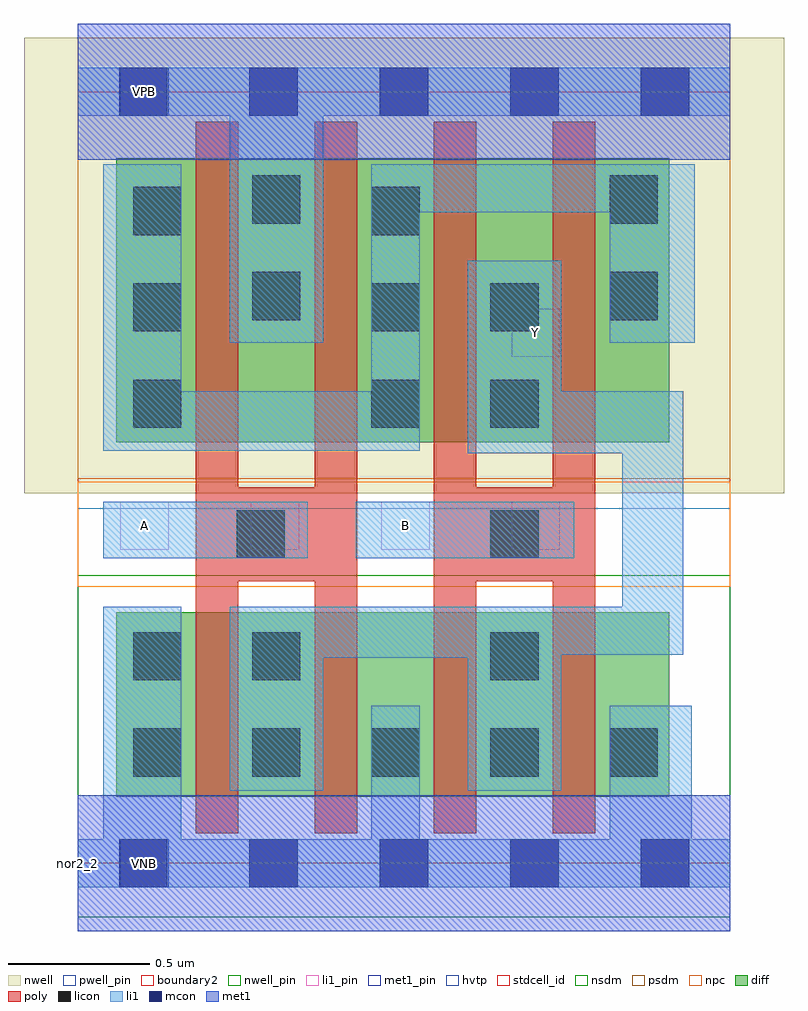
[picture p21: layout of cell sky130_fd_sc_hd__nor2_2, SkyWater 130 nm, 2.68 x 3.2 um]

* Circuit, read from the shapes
.subckt sky130_fd_sc_hd__nor2_2 A B VGND VNB VPB VPWR Y
XM1 Y A VGND VNB sky130_fd_pr__nfet_01v8 w=0.65 l=0.15 m=2
XM2 Y B VGND VNB sky130_fd_pr__nfet_01v8 w=0.65 l=0.15 m=2
XM3 VPWR A n1 VPB sky130_fd_pr__pfet_01v8_hvt w=1 l=0.15 m=2
XM4 Y B n1 VPB sky130_fd_pr__pfet_01v8_hvt w=1 l=0.15 m=2
.ends

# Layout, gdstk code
import gdstk
lib = gdstk.Library(unit=1e-6, precision=1e-09)
def R(c, l, rs):  # rectangles x0, y0, x1, y1
    for r in rs: c.add(gdstk.rectangle(r[:2], r[2:], *l))
def P(c, l, *ps):  # polygons
    for p in ps: c.add(gdstk.Polygon(p, *l))
nwell_pin = (64, 16)
nwell = (64, 20)
diff = (65, 20)
poly = (66, 20)
licon = (66, 44)
li1_pin = (67, 16)
li1 = (67, 20)
mcon = (67, 44)
met1_pin = (68, 16)
met1 = (68, 20)
hvtp = (78, 44)
stdcell_id = (81, 4)
nsdm = (93, 44)
psdm = (94, 20)
npc = (95, 20)
pwell_pin = (122, 16)
boundary2 = (236, 0)

sky130_fd_sc_hd__nor2_2 = lib.new_cell('sky130_fd_sc_hd__nor2_2')
R(sky130_fd_sc_hd__nor2_2, nwell_pin, [(0.15,2.635,0.32,2.805), (0.15,2.635,0.32,2.805)])
R(sky130_fd_sc_hd__nor2_2, nwell, [(-0.19,1.305,2.49,2.91), (-0.19,1.305,2.49,2.91)])
R(sky130_fd_sc_hd__nor2_2, diff, [(0.135,0.235,2.085,0.885), (0.135,0.235,2.085,0.885), (0.135,1.485,2.085,2.485), (0.135,1.485,2.085,2.485)])
P(sky130_fd_sc_hd__nor2_2, poly, [(0.415,0.105),(0.415,2.615),(0.565,2.615),(0.565,1.325),(0.835,1.325),(0.835,2.615),(0.985,2.615),(0.985,0.105),(0.835,0.105),(0.835,0.995),(0.565,0.995),(0.565,0.105)],
  [(1.255,0.105),(1.255,2.615),(1.405,2.615),(1.405,1.325),(1.675,1.325),(1.675,2.615),(1.825,2.615),(1.825,0.105),(1.675,0.105),(1.675,0.995),(1.405,0.995),(1.405,0.105)],
  [(0.415,0.105),(0.415,2.615),(0.565,2.615),(0.565,1.325),(0.835,1.325),(0.835,2.615),(0.985,2.615),(0.985,0.105),(0.835,0.105),(0.835,0.995),(0.565,0.995),(0.565,0.105)],
  [(1.255,0.105),(1.255,2.615),(1.405,2.615),(1.405,1.325),(1.675,1.325),(1.675,2.615),(1.825,2.615),(1.825,0.105),(1.675,0.105),(1.675,0.995),(1.405,0.995),(1.405,0.105)])
R(sky130_fd_sc_hd__nor2_2, licon, [(0.195,0.305,0.365,0.475), (0.195,0.305,0.365,0.475), (0.615,0.305,0.785,0.475), (0.615,0.305,0.785,0.475), (1.035,0.305,1.205,0.475), (1.035,0.305,1.205,0.475), (1.455,0.305,1.625,0.475), (1.455,0.305,1.625,0.475), (1.875,0.305,2.045,0.475), (1.875,0.305,2.045,0.475), (0.195,0.645,0.365,0.815), (0.195,0.645,0.365,0.815), (0.615,0.645,0.785,0.815), (0.615,0.645,0.785,0.815), (1.455,0.645,1.625,0.815), (1.455,0.645,1.625,0.815), (0.56,1.075,0.73,1.245), (0.56,1.075,0.73,1.245), (1.455,1.075,1.625,1.245), (1.455,1.075,1.625,1.245), (0.195,1.535,0.365,1.705), (0.195,1.535,0.365,1.705), (1.035,1.535,1.205,1.705), (1.035,1.535,1.205,1.705), (1.455,1.535,1.625,1.705), (1.455,1.535,1.625,1.705), (0.195,1.875,0.365,2.045), (0.195,1.875,0.365,2.045), (1.035,1.875,1.205,2.045), (1.035,1.875,1.205,2.045), (1.455,1.875,1.625,2.045), (1.455,1.875,1.625,2.045), (0.615,1.915,0.785,2.085), (0.615,1.915,0.785,2.085), (1.875,1.915,2.045,2.085), (1.875,1.915,2.045,2.085), (0.195,2.215,0.365,2.385), (0.195,2.215,0.365,2.385), (1.035,2.215,1.205,2.385), (1.035,2.215,1.205,2.385), (0.615,2.255,0.785,2.425), (0.615,2.255,0.785,2.425), (1.875,2.255,2.045,2.425), (1.875,2.255,2.045,2.425)])
R(sky130_fd_sc_hd__nor2_2, li1_pin, [(0.15,1.105,0.32,1.275), (0.15,1.105,0.32,1.275), (0.61,1.105,0.78,1.275), (0.61,1.105,0.78,1.275), (1.07,1.105,1.24,1.275), (1.07,1.105,1.24,1.275), (1.53,1.105,1.7,1.275), (1.53,1.105,1.7,1.275), (1.53,1.785,1.7,1.955), (1.53,1.785,1.7,1.955)])
R(sky130_fd_sc_hd__nor2_2, li1, [(0.09,1.075,0.81,1.275), (0.09,1.075,0.81,1.275), (0.98,1.075,1.75,1.275), (0.98,1.075,1.75,1.275)])
P(sky130_fd_sc_hd__nor2_2, li1, [(0,-0.085),(0,0.085),(0.09,0.085),(0.09,0.905),(0.365,0.905),(0.365,0.085),(1.035,0.085),(1.035,0.555),(1.205,0.555),(1.205,0.085),(1.875,0.085),(1.875,0.555),(2.165,0.555),(2.165,0.085),(2.3,0.085),(2.3,-0.085)],
  [(0.535,1.835),(0.535,2.635),(0,2.635),(0,2.805),(2.3,2.805),(2.3,2.635),(0.865,2.635),(0.865,1.835)],
  [(0.535,0.255),(0.535,0.905),(1.92,0.905),(1.92,1.445),(1.375,1.445),(1.375,2.125),(1.705,2.125),(1.705,1.665),(2.135,1.665),(2.135,0.735),(1.705,0.735),(1.705,0.255),(1.375,0.255),(1.375,0.725),(0.865,0.725),(0.865,0.255)],
  [(0.09,1.455),(0.09,2.465),(0.365,2.465),(0.365,1.665),(1.035,1.665),(1.035,2.465),(2.175,2.465),(2.175,1.835),(1.875,1.835),(1.875,2.295),(1.205,2.295),(1.205,1.455)],
  [(0,-0.085),(0,0.085),(0.09,0.085),(0.09,0.905),(0.365,0.905),(0.365,0.085),(1.035,0.085),(1.035,0.555),(1.205,0.555),(1.205,0.085),(1.875,0.085),(1.875,0.555),(2.165,0.555),(2.165,0.085),(2.3,0.085),(2.3,-0.085)],
  [(0.535,1.835),(0.535,2.635),(0,2.635),(0,2.805),(2.3,2.805),(2.3,2.635),(0.865,2.635),(0.865,1.835)],
  [(0.535,0.255),(0.535,0.905),(1.92,0.905),(1.92,1.445),(1.375,1.445),(1.375,2.125),(1.705,2.125),(1.705,1.665),(2.135,1.665),(2.135,0.735),(1.705,0.735),(1.705,0.255),(1.375,0.255),(1.375,0.725),(0.865,0.725),(0.865,0.255)],
  [(0.09,1.455),(0.09,2.465),(0.365,2.465),(0.365,1.665),(1.035,1.665),(1.035,2.465),(2.175,2.465),(2.175,1.835),(1.875,1.835),(1.875,2.295),(1.205,2.295),(1.205,1.455)])
R(sky130_fd_sc_hd__nor2_2, mcon, [(0.145,-0.085,0.315,0.085), (0.145,-0.085,0.315,0.085), (0.605,-0.085,0.775,0.085), (0.605,-0.085,0.775,0.085), (1.065,-0.085,1.235,0.085), (1.065,-0.085,1.235,0.085), (1.525,-0.085,1.695,0.085), (1.525,-0.085,1.695,0.085), (1.985,-0.085,2.155,0.085), (1.985,-0.085,2.155,0.085), (0.145,2.635,0.315,2.805), (0.145,2.635,0.315,2.805), (0.605,2.635,0.775,2.805), (0.605,2.635,0.775,2.805), (1.065,2.635,1.235,2.805), (1.065,2.635,1.235,2.805), (1.525,2.635,1.695,2.805), (1.525,2.635,1.695,2.805), (1.985,2.635,2.155,2.805), (1.985,2.635,2.155,2.805)])
R(sky130_fd_sc_hd__nor2_2, met1_pin, [(0.15,-0.085,0.32,0.085), (0.15,-0.085,0.32,0.085), (0.15,2.635,0.32,2.805), (0.15,2.635,0.32,2.805)])
R(sky130_fd_sc_hd__nor2_2, hvtp, [(0,1.25,2.3,2.72), (0,1.25,2.3,2.72)])
R(sky130_fd_sc_hd__nor2_2, stdcell_id, [(0,0,2.3,2.72), (0,0,2.3,2.72)])
R(sky130_fd_sc_hd__nor2_2, nsdm, [(0,-0.19,2.3,1.015), (0,-0.19,2.3,1.015)])
R(sky130_fd_sc_hd__nor2_2, psdm, [(0,1.355,2.3,2.91), (0,1.355,2.3,2.91)])
R(sky130_fd_sc_hd__nor2_2, npc, [(0,0.975,2.3,1.345), (0,0.975,2.3,1.345)])
R(sky130_fd_sc_hd__nor2_2, pwell_pin, [(0.15,-0.085,0.32,0.085), (0.15,-0.085,0.32,0.085)])
R(sky130_fd_sc_hd__nor2_2, boundary2, [(0,0,2.3,2.72), (0,0,2.3,2.72)])
sky130_fd_sc_hd__nor2_2.add(gdstk.FlexPath([(0,2.72),(2.3,2.72)], 0.48, ends="flush", simple_path=True, layer=68, datatype=20))  # met1
sky130_fd_sc_hd__nor2_2.add(gdstk.FlexPath([(0,0),(2.3,0)], 0.48, ends="flush", simple_path=True, layer=68, datatype=20))  # met1
sky130_fd_sc_hd__nor2_2.add(gdstk.FlexPath([(0,2.72),(2.3,2.72)], 0.48, ends="flush", simple_path=True, layer=68, datatype=20))  # met1
sky130_fd_sc_hd__nor2_2.add(gdstk.FlexPath([(0,0),(2.3,0)], 0.48, ends="flush", simple_path=True, layer=68, datatype=20))  # met1
sky130_fd_sc_hd__nor2_2.add(gdstk.Label('B', (1.155,1.19), layer=67, texttype=5))
sky130_fd_sc_hd__nor2_2.add(gdstk.Label('Y', (1.615,1.87), layer=67, texttype=5))
sky130_fd_sc_hd__nor2_2.add(gdstk.Label('A', (0.235,1.19), layer=67, texttype=5))
sky130_fd_sc_hd__nor2_2.add(gdstk.Label('B', (1.155,1.19), layer=67, texttype=5))
sky130_fd_sc_hd__nor2_2.add(gdstk.Label('Y', (1.615,1.87), layer=67, texttype=5))
sky130_fd_sc_hd__nor2_2.add(gdstk.Label('A', (0.235,1.19), layer=67, texttype=5))
sky130_fd_sc_hd__nor2_2.add(gdstk.Label('VNB', (0.235,0), layer=64, texttype=59))
sky130_fd_sc_hd__nor2_2.add(gdstk.Label('VNB', (0.235,0), layer=64, texttype=59))
sky130_fd_sc_hd__nor2_2.add(gdstk.Label('VPB', (0.235,2.72), layer=64, texttype=5))
sky130_fd_sc_hd__nor2_2.add(gdstk.Label('VPB', (0.235,2.72), layer=64, texttype=5))
sky130_fd_sc_hd__nor2_2.add(gdstk.Label('VGND', (0.235,0), layer=68, texttype=5))
sky130_fd_sc_hd__nor2_2.add(gdstk.Label('VPWR', (0.235,2.72), layer=68, texttype=5))
sky130_fd_sc_hd__nor2_2.add(gdstk.Label('VGND', (0.235,0), layer=68, texttype=5))
sky130_fd_sc_hd__nor2_2.add(gdstk.Label('VPWR', (0.235,2.72), layer=68, texttype=5))
sky130_fd_sc_hd__nor2_2.add(gdstk.Label('nor2_2', (0,0), layer=83, texttype=44))
sky130_fd_sc_hd__nor2_2.add(gdstk.Label('nor2_2', (0,0), layer=83, texttype=44))

lib.write_gds('sky130_fd_sc_hd__nor2_2.gds')
